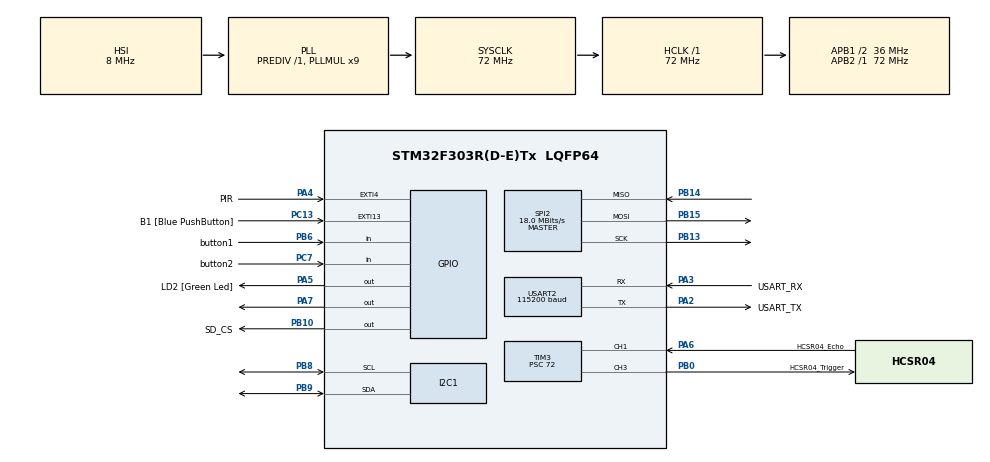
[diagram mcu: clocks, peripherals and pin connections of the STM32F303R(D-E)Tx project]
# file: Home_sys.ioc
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Dma.I2C1_TX.0.Direction=DMA_MEMORY_TO_PERIPH
Dma.I2C1_TX.0.Instance=DMA1_Channel6
Dma.I2C1_TX.0.MemDataAlignment=DMA_MDATAALIGN_BYTE
Dma.I2C1_TX.0.MemInc=DMA_MINC_ENABLE
Dma.I2C1_TX.0.Mode=DMA_NORMAL
Dma.I2C1_TX.0.PeriphDataAlignment=DMA_PDATAALIGN_BYTE
Dma.I2C1_TX.0.PeriphInc=DMA_PINC_DISABLE
Dma.I2C1_TX.0.Priority=DMA_PRIORITY_LOW
Dma.Request0=I2C1_TX
I2C1.Timing=0x00201D2B
Mcu.Family=STM32F3
<<<<<<< HEAD
<<<<<<< HEAD
=======
>>>>>>> parent of dcbb533 (Add dht11)
=======
>>>>>>> add-features
Mcu.Name=STM32F303R(D-E)Tx
Mcu.Package=LQFP64
<<<<<<< HEAD
<<<<<<< HEAD
=======
>>>>>>> parent of dcbb533 (Add dht11)
=======
>>>>>>> add-features
<<<<<<< HEAD
<<<<<<< HEAD
=======
>>>>>>> parent of dcbb533 (Add dht11)
=======
>>>>>>> add-features
NVIC.DMA1_Channel6_IRQn=true\:0\:0\:false\:false\:true\:false\:true\:true
NVIC.EXTI15_10_IRQn=true\:0\:0\:false\:false\:true\:true\:true\:true
NVIC.EXTI4_IRQn=true\:0\:0\:false\:false\:true\:true\:true\:true
NVIC.I2C1_EV_IRQn=true\:0\:0\:false\:false\:true\:true\:true\:true
NVIC.PriorityGroup=NVIC_PRIORITYGROUP_0
NVIC.TIM3_IRQn=true\:0\:0\:false\:false\:true\:true\:true\:true
PA13.GPIO_Label=TMS
PA13.Mode=Serial_Wire
PA13.Signal=SYS_JTMS-SWDIO
PA14.GPIO_Label=TCK
PA14.Mode=Serial_Wire
PA14.Signal=SYS_JTCK-SWCLK
PA2.GPIO_Label=USART_TX
PA2.GPIO_Mode=GPIO_MODE_AF_PP
PA2.GPIO_PuPd=GPIO_NOPULL
PA2.GPIO_Speed=GPIO_SPEED_FREQ_LOW
PA2.Mode=Asynchronous
PA2.Signal=USART2_TX
PA3.GPIO_Label=USART_RX
PA3.GPIO_Mode=GPIO_MODE_AF_PP
PA3.GPIO_PuPd=GPIO_NOPULL
PA3.GPIO_Speed=GPIO_SPEED_FREQ_LOW
PA3.Mode=Asynchronous
PA3.Signal=USART2_RX
PA4.GPIO_Label=PIR
PA4.Signal=GPXTI4
PA5.GPIO_Label=LD2 [Green Led]
PA5.GPIO_Mode=GPIO_MODE_OUTPUT_PP
PA5.GPIO_PuPd=GPIO_NOPULL
PA5.GPIO_Speed=GPIO_SPEED_FREQ_LOW
PA5.Signal=GPIO_Output
<<<<<<< HEAD
<<<<<<< HEAD
PA7.GPIO_ModeDefaultOutputPP=GPIO_MODE_OUTPUT_PP
PA7.PinState=GPIO_PIN_SET
PA7.Signal=GPIO_Output
=======
>>>>>>> parent of dcbb533 (Add dht11)
=======
PA6.GPIO_Label=HCSR04_Echo
PA6.Signal=S_TIM3_CH1
PA7.PinState=GPIO_PIN_SET
PA7.Signal=GPIO_Output
PB0.GPIO_Label=HCSR04_Trigger
PB0.Signal=S_TIM3_CH3
PB10.GPIO_Label=SD_CS
PB10.Signal=GPIO_Output
PB13.Mode=Full_Duplex_Master
PB13.Signal=SPI2_SCK
PB14.Mode=Full_Duplex_Master
PB14.Signal=SPI2_MISO
PB15.Mode=Full_Duplex_Master
PB15.Signal=SPI2_MOSI
>>>>>>> add-features
PB3.GPIO_Label=SWO
PB3.Signal=SYS_JTDO-TRACESWO
<<<<<<< HEAD
=======
PB6.GPIO_Label=button1
PB6.GPIO_PuPd=GPIO_PULLUP
PB6.Signal=GPIO_Input
>>>>>>> add-features
PB8.Mode=I2C
PB8.Signal=I2C1_SCL
PB9.Mode=I2C
PB9.Signal=I2C1_SDA
PC13.GPIO_Label=B1 [Blue PushButton]
PC13.GPIO_ModeDefaultEXTI=GPIO_MODE_IT_FALLING
PC13.Signal=GPXTI13
PC14-OSC32_IN.Mode=LSE-External-Oscillator
PC14-OSC32_IN.Signal=RCC_OSC32_IN
PC15-OSC32_OUT.Mode=LSE-External-Oscillator
PC15-OSC32_OUT.Signal=RCC_OSC32_OUT
PC7.GPIO_Label=button2
PC7.GPIO_PuPd=GPIO_PULLUP
PC7.Signal=GPIO_Input
PF0-OSC_IN.Mode=HSE-External-Clock-Source
PF0-OSC_IN.Signal=RCC_OSC_IN
PF1-OSC_OUT.Signal=RCC_OSC_OUT
ProjectManager.HeapSize=0x200
ProjectManager.StackSize=0x400
ProjectManager.TargetToolchain=STM32CubeIDE
<<<<<<< HEAD
<<<<<<< HEAD
=======
>>>>>>> parent of dcbb533 (Add dht11)
=======
>>>>>>> add-features
RCC.AHBFreq_Value=72000000
RCC.APB1CLKDivider=RCC_HCLK_DIV2
RCC.APB1Freq_Value=36000000
RCC.APB1TimFreq_Value=72000000
RCC.APB2Freq_Value=72000000
RCC.APB2TimFreq_Value=72000000
RCC.CortexFreq_Value=72000000
RCC.HCLKFreq_Value=72000000
RCC.HSE_VALUE=8000000
RCC.HSI_VALUE=8000000
RCC.PLLM=8
RCC.PLLMUL=RCC_PLL_MUL9
RCC.PLLN=336
RCC.PLLP=RCC_PLLP_DIV4
RCC.PLLQ=7
RCC.RCC_PLLsource_Clock_Source_FROM_HSE=RCC_HSE_PREDIV_DIV2
RCC.SYSCLKFreq_VALUE=72000000
RCC.SYSCLKSourceVirtual=RCC_SYSCLKSOURCE_PLLCLK
RCC.USBFreq_Value=72000000
SH.S_TIM3_CH1.0=TIM3_CH1,Input_Capture1_from_TI1
SH.S_TIM3_CH3.0=TIM3_CH3,PWM Generation3 CH3
SPI2.CalculateBaudRate=18.0 MBits/s
SPI2.DataSize=SPI_DATASIZE_8BIT
SPI2.Direction=SPI_DIRECTION_2LINES
SPI2.Mode=SPI_MODE_MASTER
SPI2.VirtualType=VM_MASTER
TIM3.Channel-Input_Capture1_from_TI1=TIM_CHANNEL_1
TIM3.Channel-Input_Capture2_from_TI1_63=TIM_CHANNEL_2
TIM3.Channel-PWM\ Generation3\ CH3=TIM_CHANNEL_3
TIM3.ICPolarity_CH2=TIM_INPUTCHANNELPOLARITY_FALLING
TIM3.Prescaler=72
TIM3.Pulse-PWM\ Generation3\ CH3=11
USART2.BaudRate=115200
USART2.VirtualMode-Asynchronous=VM_ASYNC
VP_FATFS_VS_Generic.Mode=User_defined
<<<<<<< HEAD
<<<<<<< HEAD
VP_TIM2_VS_ClockSourceINT.Mode=Internal
VP_TIM4_VS_ClockSourceINT.Mode=Internal
=======
>>>>>>> parent of dcbb533 (Add dht11)
=======
VP_TIM3_VS_indirect_ch1.Mode=Input_Capture2_from_TI1_63
>>>>>>> add-features
board=NUCLEO-F303RE

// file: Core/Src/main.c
/* USER CODE BEGIN Header */
/**
  ******************************************************************************
  * @file           : main.c
  * @brief          : Main program body
  ******************************************************************************
  * @attention
  *
  * Copyright (c) 2024 STMicroelectronics.
  * All rights reserved.
  *
  * This software is licensed under terms that can be found in the LICENSE file
  * in the root directory of this software component.
  * If no LICENSE file comes with this software, it is provided AS-IS.
  *
  ******************************************************************************
  */
/* USER CODE END Header */
#include "main.h"
#include "fatfs.h"
#include "i2c.h"
#include "spi.h"
#include "tim.h"
#include "usart.h"
#include "gpio.h"

/* USER CODE BEGIN Includes */
#include "i2c_lcd.h"
#include <stdbool.h>
#include <stdio.h>
#include <string.h>
#include "dht.h"
#include "hcsr04.h"
#include "menu_lcd.h"
/* USER CODE END Includes */

/* USER CODE BEGIN PD */
#define HCSR04_TRIGGER_TIMER		htim3
#define HCSR04_ECHO_TIMER			htim3
#define HCSR04_TRIGGER_CHANNEL		TIM_CHANNEL_3
#define HCSR04_ECHO_START_CHANNEL 	TIM_CHANNEL_1
#define HCSR04_ECHO_STOP_CHANNEL 	TIM_CHANNEL_2

/* USER CODE END PD */

/* USER CODE BEGIN PV */
volatile uint8_t motionStartTick = 0; //czas rozpoczęcia PIR
volatile uint32_t motionDuration = 0; //czas trwania PIR
volatile uint8_t motionInProgress = 0; //Flaga w toku
 struct lcd_disp disp;
 char uart_buf2[50];
char lcd_buf[16];
 HCSR04_t HCSR04;
float Distance_f;
uint16_t Distance_u16;
FRESULT FatFsResult;
FATFS SdFatFs;
FIL SdCardFile;

uint8_t bytes;
char data[128];

float global_temperature = 0.0f;
float global_humidity = 0.0f;
float global_distance = 0.0f;
float global_time_move= 0.0f;

//struct lcd_disp lcd_display;
/* USER CODE END PV */

void SystemClock_Config(void);

/* USER CODE BEGIN 0 */
DHT_DataTypedef DHT11_Data;
float Temperature, Humidity;
MenuState currentMenuState = MENU_MAIN;
//Menu_HandleInput();
/* USER CODE END 0 */

int main(void)
{

  /* MCU Configuration--------------------------------------------------------*/

  /* Reset of all peripherals, Initializes the Flash interface and the Systick. */

  HAL_Init();

  /* Configure the system clock */
  SystemClock_Config();

  /* Initialize all configured peripherals */
  MX_GPIO_Init();
  MX_USART2_UART_Init();
  MX_I2C1_Init();
  MX_TIM3_Init();
  MX_SPI2_Init();
  MX_FATFS_Init();
  /* USER CODE BEGIN 2 */

  HCSR04_Init(&HCSR04, &HCSR04_TRIGGER_TIMER, &HCSR04_ECHO_TIMER, HCSR04_TRIGGER_CHANNEL, HCSR04_ECHO_START_CHANNEL, HCSR04_ECHO_STOP_CHANNEL);

  disp.addr = (0x27 << 1);
  disp.bl = true;
  lcd_init(&disp);
  Menu_Display(currentMenuState);

  //Log_Data_To_SD()''
  // sprintf((char *)disp.f_line, " Uruchamianie ");
   // sprintf((char *)disp.s_line, " Wyświetlacza");
   //lcd_display(&disp);
  /* USER CODE END 2 */

  /* Infinite loop */
  /* USER CODE BEGIN WHILE */
  while (1)
  {

     HCSR04_GetDistanceFloat(&HCSR04, &Distance_f);
	  HCSR04_GetDistanceInteger(&HCSR04, &Distance_u16);
	  HAL_Delay(10);

DHT_GetData(&DHT11_Data);
  	  Temperature = DHT11_Data.Temperature;
	  Humidity = DHT11_Data.Humidity;

global_distance=HCSR04_GetDistanceFloat(&HCSR04, &Distance_f);
global_humidity=Humidity;
global_temperature=Temperature;

sprintf(uart_buf2, "dyst: %.2f \r\n", global_distance);

// Przesłanie przez UART
HAL_UART_Transmit(&huart2, (uint8_t *)uart_buf2, strlen(uart_buf2), 10);

	 // HAL_Delay(3000);
 Menu_HandleInput();
Menu_Display(currentMenuState);

    /* USER CODE END WHILE */

  }
}

void SystemClock_Config(void)
{
  RCC_OscInitTypeDef RCC_OscInitStruct = {0};
  RCC_ClkInitTypeDef RCC_ClkInitStruct = {0};
  RCC_PeriphCLKInitTypeDef PeriphClkInit = {0};

  /** Initializes the RCC Oscillators according to the specified parameters
  * in the RCC_OscInitTypeDef structure.
  */
  RCC_OscInitStruct.OscillatorType = RCC_OSCILLATORTYPE_HSI;
  RCC_OscInitStruct.HSIState = RCC_HSI_ON;
  RCC_OscInitStruct.HSICalibrationValue = RCC_HSICALIBRATION_DEFAULT;
  RCC_OscInitStruct.PLL.PLLState = RCC_PLL_ON;
  RCC_OscInitStruct.PLL.PLLSource = RCC_PLLSOURCE_HSI;
  RCC_OscInitStruct.PLL.PLLMUL = RCC_PLL_MUL9;
  RCC_OscInitStruct.PLL.PREDIV = RCC_PREDIV_DIV1;
  if (HAL_RCC_OscConfig(&RCC_OscInitStruct) != HAL_OK)
  {
    Error_Handler();
  }

  /** Initializes the CPU, AHB and APB buses clocks
  */
  RCC_ClkInitStruct.ClockType = RCC_CLOCKTYPE_HCLK|RCC_CLOCKTYPE_SYSCLK
                              |RCC_CLOCKTYPE_PCLK1|RCC_CLOCKTYPE_PCLK2;
  RCC_ClkInitStruct.SYSCLKSource = RCC_SYSCLKSOURCE_PLLCLK;
  RCC_ClkInitStruct.AHBCLKDivider = RCC_SYSCLK_DIV1;
  RCC_ClkInitStruct.APB1CLKDivider = RCC_HCLK_DIV2;
  RCC_ClkInitStruct.APB2CLKDivider = RCC_HCLK_DIV1;

  if (HAL_RCC_ClockConfig(&RCC_ClkInitStruct, FLASH_LATENCY_2) != HAL_OK)
  {
    Error_Handler();
  }
  PeriphClkInit.PeriphClockSelection = RCC_PERIPHCLK_USART2|RCC_PERIPHCLK_I2C1
                              |RCC_PERIPHCLK_TIM34;
  PeriphClkInit.Usart2ClockSelection = RCC_USART2CLKSOURCE_PCLK1;
  PeriphClkInit.I2c1ClockSelection = RCC_I2C1CLKSOURCE_HSI;
  PeriphClkInit.Tim34ClockSelection = RCC_TIM34CLK_HCLK;
  if (HAL_RCCEx_PeriphCLKConfig(&PeriphClkInit) != HAL_OK)
  {
    Error_Handler();
  }
}

/* USER CODE BEGIN 4 */

void HAL_TIM_IC_CaptureCallback(TIM_HandleTypeDef *htim)
{
	if(htim == HCSR04.htim_echo)// sprawdzenie czasu czujnika hcsr04
	{
		HCSR04_InterruptHandler(&HCSR04);
	}
}

void HAL_GPIO_EXTI_Callback(uint16_t GPIO_Pin) {
    if (GPIO_Pin == PIR_Pin) {  // Jeśli przerwanie pochodzi od czujnika PIR
        if (HAL_GPIO_ReadPin(PIR_GPIO_Port, PIR_Pin) == GPIO_PIN_SET) {
            if (!motionInProgress) { // Ruch się rozpoczął
                motionStartTick = HAL_GetTick();
                motionInProgress = 1;
                HAL_GPIO_WritePin(LD2_GPIO_Port,LD2_Pin,GPIO_PIN_SET); // Ustawienie flagi
            }
        } else if (motionInProgress) { // Ruch zakończony
            motionDuration = HAL_GetTick() - motionStartTick;
            motionInProgress = 0;  // Zresetowanie flagi

        }
    }
}

/* USER CODE END 4 */

void Error_Handler(void)
{
  __disable_irq();
  while (1)
  {
  }
}
